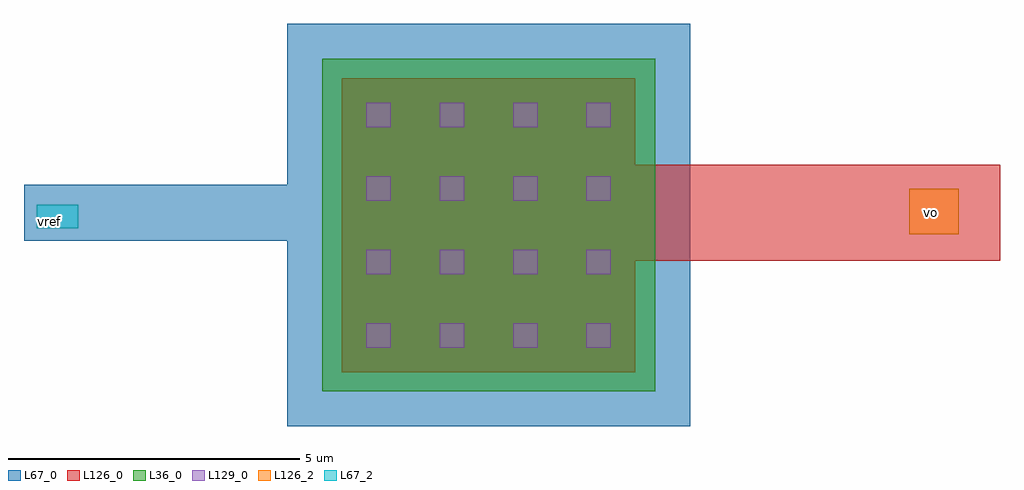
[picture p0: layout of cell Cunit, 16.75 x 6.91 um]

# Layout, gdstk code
import gdstk
lib = gdstk.Library(unit=1e-6, precision=1e-09)
def R(c, l, rs):  # rectangles x0, y0, x1, y1
    for r in rs: c.add(gdstk.rectangle(r[:2], r[2:], *l))
def A(c, l, x, y, w, h, nx, ny, dx, dy):  # array of equal rectangles
    R(c, l, [(x+i*dx, y+j*dy, x+i*dx+w, y+j*dy+h) for i in range(nx) for j in range(ny)])
L36_0 = (36, 0)
L67_0 = (67, 0)
L67_2 = (67, 2)
L126_0 = (126, 0)
L126_2 = (126, 2)
L129_0 = (129, 0)

cmim = lib.new_cell('cmim')
R(cmim, L36_0, [(0,0,5.71,5.71)])
R(cmim, L67_0, [(-0.6,-0.6,6.31,6.31)])
R(cmim, L126_0, [(0.33,0.33,5.37,5.37)])
A(cmim, L129_0, 0.75, 0.75, 0.42, 0.42, 4, 4, 1.26, 1.26)

cunit = lib.new_cell('Cunit')
R(cunit, L67_0, [(12.63,5.325,18.665,6.285)])
R(cunit, L67_2, [(12.845,5.535,13.565,5.945)])
R(cunit, L126_0, [(21.98,4.985,29.375,6.625)])
R(cunit, L126_2, [(27.82,5.44,28.665,6.215)])
cunit.add(gdstk.Reference(cmim, (17.75,2.74)))
cunit.add(gdstk.Label('vref', (13.06,5.66), layer=67, texttype=25))
cunit.add(gdstk.Label('vo', (28.19,5.805), layer=126, texttype=25))

lib.write_gds('Cunit.gds')
